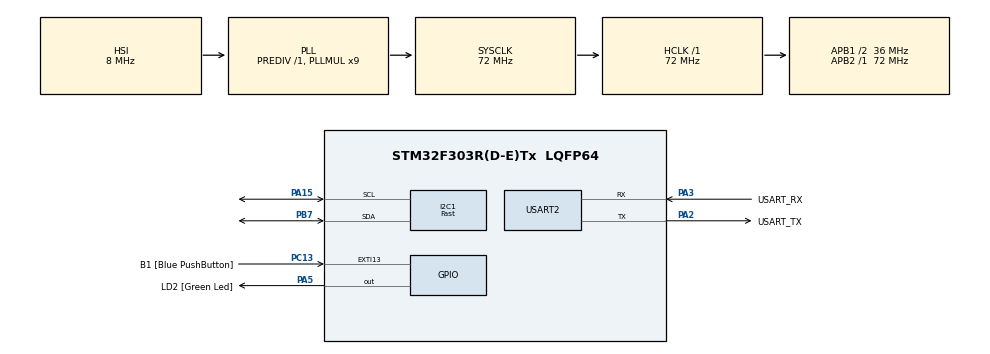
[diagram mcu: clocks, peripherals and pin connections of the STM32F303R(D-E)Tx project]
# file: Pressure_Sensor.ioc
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I2C1.I2C_Fall_Time=50
I2C1.I2C_Rise_Time=50
I2C1.I2C_Speed_Mode=I2C_Fast
I2C1.Timing=0x0010020A
Mcu.Family=STM32F3
Mcu.Name=STM32F303R(D-E)Tx
Mcu.Package=LQFP64
NVIC.PriorityGroup=NVIC_PRIORITYGROUP_0
PA13.GPIO_Label=TMS
PA13.Mode=Serial_Wire
PA13.Signal=SYS_JTMS-SWDIO
PA14.GPIO_Label=TCK
PA14.Mode=Serial_Wire
PA14.Signal=SYS_JTCK-SWCLK
PA15.Mode=I2C
PA15.Signal=I2C1_SCL
PA2.GPIO_Label=USART_TX
PA2.GPIO_Mode=GPIO_MODE_AF_PP
PA2.GPIO_PuPd=GPIO_NOPULL
PA2.GPIO_Speed=GPIO_SPEED_FREQ_LOW
PA2.Mode=Asynchronous
PA2.Signal=USART2_TX
PA3.GPIO_Label=USART_RX
PA3.GPIO_Mode=GPIO_MODE_AF_PP
PA3.GPIO_PuPd=GPIO_NOPULL
PA3.GPIO_Speed=GPIO_SPEED_FREQ_LOW
PA3.Mode=Asynchronous
PA3.Signal=USART2_RX
PA5.GPIO_Label=LD2 [Green Led]
PA5.GPIO_Mode=GPIO_MODE_OUTPUT_PP
PA5.GPIO_PuPd=GPIO_NOPULL
PA5.GPIO_Speed=GPIO_SPEED_FREQ_LOW
PA5.Signal=GPIO_Output
PB3.GPIO_Label=SWO
PB3.Signal=SYS_JTDO-TRACESWO
PB7.Mode=I2C
PB7.Signal=I2C1_SDA
PC13.GPIO_Label=B1 [Blue PushButton]
PC13.GPIO_ModeDefaultEXTI=GPIO_MODE_IT_FALLING
PC13.Signal=GPXTI13
PC14-OSC32_IN.Mode=LSE-External-Oscillator
PC14-OSC32_IN.Signal=RCC_OSC32_IN
PC15-OSC32_OUT.Mode=LSE-External-Oscillator
PC15-OSC32_OUT.Signal=RCC_OSC32_OUT
PF0-OSC_IN.Mode=HSE-External-Clock-Source
PF0-OSC_IN.Signal=RCC_OSC_IN
PF1-OSC_OUT.Signal=RCC_OSC_OUT
ProjectManager.HeapSize=0x200
ProjectManager.StackSize=0x400
ProjectManager.TargetToolchain=STM32CubeIDE
RCC.AHBFreq_Value=72000000
RCC.APB1CLKDivider=RCC_HCLK_DIV2
RCC.APB1Freq_Value=36000000
RCC.APB1TimFreq_Value=72000000
RCC.APB2Freq_Value=72000000
RCC.APB2TimFreq_Value=72000000
RCC.CortexFreq_Value=72000000
RCC.HCLKFreq_Value=72000000
RCC.HSE_VALUE=8000000
RCC.HSI_VALUE=8000000
RCC.PLLM=8
RCC.PLLMUL=RCC_PLL_MUL9
RCC.PLLN=336
RCC.PLLP=RCC_PLLP_DIV4
RCC.PLLQ=7
RCC.RCC_PLLsource_Clock_Source_FROM_HSE=RCC_HSE_PREDIV_DIV2
RCC.SYSCLKFreq_VALUE=72000000
RCC.SYSCLKSourceVirtual=RCC_SYSCLKSOURCE_PLLCLK
RCC.USBFreq_Value=72000000
USART2.VirtualMode-Asynchronous=VM_ASYNC
board=NUCLEO-F303RE

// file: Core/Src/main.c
/* USER CODE BEGIN Header */
/**
  ******************************************************************************
  * @file           : main.c
  * @brief          : Main program body
  ******************************************************************************
  * @attention
  *
  * Copyright (c) 2023 STMicroelectronics.
  * All rights reserved.
  *
  * This software is licensed under terms that can be found in the LICENSE file
  * in the root directory of this software component.
  * If no LICENSE file comes with this software, it is provided AS-IS.
  *
  ******************************************************************************
  */
/* USER CODE END Header */
#include "main.h"

I2C_HandleTypeDef hi2c1;

UART_HandleTypeDef huart2;

void SystemClock_Config(void);
static void MX_GPIO_Init(void);
static void MX_USART2_UART_Init(void);
static void MX_I2C1_Init(void);

int main(void)
{

  /* MCU Configuration--------------------------------------------------------*/

  /* Reset of all peripherals, Initializes the Flash interface and the Systick. */
  HAL_Init();

  /* Configure the system clock */
  SystemClock_Config();

  /* Initialize all configured peripherals */
  MX_GPIO_Init();
  MX_USART2_UART_Init();
  MX_I2C1_Init();
  /* USER CODE BEGIN 2 */
  /* Pressure Sensor Loop Variables*/
  	  /* Slave Address of the BMP280 */
  	  uint16_t BMP_Address = 0xEC; /* BMP 280 Address */

  	  /* Register Addresses */
  	  uint8_t regAddress_CTRL_MEAS = 0xF4; /* Oversampling control */
  	  uint8_t regAddress_CONFIG = 0xF5; /* Data rate/filter and interface */
  	  uint8_t regAddress_PRESS_MSB = 0xF7; /* Pressure Most Significant Bits */

  	  /* Trimming Register Addresses */
  	  uint8_t regAddress_Dig_T1 = 0x88;
  	  uint8_t regAddress_Dig_T2 = 0x8A;
  	  uint8_t regAddress_Dig_T3 = 0x8C;
	  uint8_t regAddress_Dig_P1 = 0x8E;
	  uint8_t regAddress_Dig_P2 = 0x90;
	  uint8_t regAddress_Dig_P3 = 0x92;
	  uint8_t regAddress_Dig_P4 = 0x94;
	  uint8_t regAddress_Dig_P5 = 0x96;
	  uint8_t regAddress_Dig_P6 = 0x98;
	  uint8_t regAddress_Dig_P7 = 0x9A;
	  uint8_t regAddress_Dig_P8 = 0x9C;
	  uint8_t regAddress_Dig_P9 = 0x9E;

  	  /* Register Values */
  	  uint8_t regCTRL_MEAS = 0x27; /* Oversampling x1 for Pressure and Temp, Normal Mode 00100111*/
  	  uint8_t regCONFIG = 0x00; /* Not sure about this. 0.5ms rate, filter off, SPI off */

  	  /* Output Buffers */
  	  uint8_t data[6]; /* Buffer for all the data */

  	  int32_t press; /* Pressure value */
  	  int32_t temp; /* Temperature Value */
  	  uint16_t dig_T1; /* Trimming Value T1 */
  	  short dig_T2; /* Trimming Value T2 */
  	  short dig_T3; /* Trimming Value T3 */
  	  uint16_t dig_P1; /*Trimming Value P1 */
  	  short dig_P2; /* Trimming Value P2 */
  	  short dig_P3; /* Trimming Value P3 */
  	  short dig_P4; /* Trimming Value P4 */
  	  short dig_P5; /* Trimming Value P5 */
  	  short dig_P6; /* Trimming Value P6 */
  	  short dig_P7; /* Trimming Value P7 */
  	  short dig_P8; /* Trimming Value P8 */
  	  short dig_P9; /* Trimming Value P9 */

  	  /* Temperature Compensation Variables */
	  int32_t temp_var1;
	  int32_t temp_var2;
	  int32_t temperature; /* Output Temperature */
	  int32_t t_fine; /* Fine Output for Pressure Compensation */

	  /* Pressure Compensation Variables */
	  int64_t press_var1;
	  int64_t press_var2;
	  int64_t pressure;

  	  float pressVal; /* Decimal Pressure */
  	  float tempVal; /* Decimal Temperature */
  	  float altitude; /* Altitude */
  	  float seaLevel_Press = 102090; /* Sea Level Pressure Equivalent (Update by day) */

  	  /* Configuration of the BMP280 */
  	  HAL_I2C_Mem_Write(&hi2c1, BMP_Address, regAddress_CTRL_MEAS, I2C_MEMADD_SIZE_8BIT, &regCTRL_MEAS, 1, 2000u); /* Writing to the ctrl measurement register */
  	  HAL_I2C_Mem_Write(&hi2c1, BMP_Address, regAddress_CONFIG, I2C_MEMADD_SIZE_8BIT, &regCONFIG, 1, 2000u); /* Writing to the ctrl measurement register */

  	  /* Reading the Trimming Values */
	  HAL_I2C_Mem_Read(&hi2c1, BMP_Address, regAddress_Dig_T1, I2C_MEMADD_SIZE_8BIT, &dig_T1, 2, 2000u); /* Getting the Trimming Values */
	  HAL_I2C_Mem_Read(&hi2c1, BMP_Address, regAddress_Dig_T2, I2C_MEMADD_SIZE_8BIT, &dig_T2, 2, 2000u); /* Getting the Trimming Values */
	  HAL_I2C_Mem_Read(&hi2c1, BMP_Address, regAddress_Dig_T3, I2C_MEMADD_SIZE_8BIT, &dig_T3, 2, 2000u); /* Getting the Trimming Values */
	  HAL_I2C_Mem_Read(&hi2c1, BMP_Address, regAddress_Dig_P1, I2C_MEMADD_SIZE_8BIT, &dig_P1, 2, 2000u); /* Getting the Trimming Values */
	  HAL_I2C_Mem_Read(&hi2c1, BMP_Address, regAddress_Dig_P2, I2C_MEMADD_SIZE_8BIT, &dig_P2, 2, 2000u); /* Getting the Trimming Values */
	  HAL_I2C_Mem_Read(&hi2c1, BMP_Address, regAddress_Dig_P3, I2C_MEMADD_SIZE_8BIT, &dig_P3, 2, 2000u); /* Getting the Trimming Values */
	  HAL_I2C_Mem_Read(&hi2c1, BMP_Address, regAddress_Dig_P4, I2C_MEMADD_SIZE_8BIT, &dig_P4, 2, 2000u); /* Getting the Trimming Values */
	  HAL_I2C_Mem_Read(&hi2c1, BMP_Address, regAddress_Dig_P5, I2C_MEMADD_SIZE_8BIT, &dig_P5, 2, 2000u); /* Getting the Trimming Values */
	  HAL_I2C_Mem_Read(&hi2c1, BMP_Address, regAddress_Dig_P6, I2C_MEMADD_SIZE_8BIT, &dig_P6, 2, 2000u); /* Getting the Trimming Values */
	  HAL_I2C_Mem_Read(&hi2c1, BMP_Address, regAddress_Dig_P7, I2C_MEMADD_SIZE_8BIT, &dig_P7, 2, 2000u); /* Getting the Trimming Values */
	  HAL_I2C_Mem_Read(&hi2c1, BMP_Address, regAddress_Dig_P8, I2C_MEMADD_SIZE_8BIT, &dig_P8, 2, 2000u); /* Getting the Trimming Values */
	  HAL_I2C_Mem_Read(&hi2c1, BMP_Address, regAddress_Dig_P9, I2C_MEMADD_SIZE_8BIT, &dig_P9, 2, 2000u); /* Getting the Trimming Values */

  /* USER CODE END 2 */

  /* Infinite loop */
  while (1)
  {

    /* USER CODE BEGIN 3 */
	  HAL_I2C_Mem_Read(&hi2c1, BMP_Address, regAddress_PRESS_MSB, I2C_MEMADD_SIZE_8BIT, &data, 6, 2000u); /* Reading pressure and temperature */

	  press = (int32_t)((data[0] << 12) | data[1] << 4 | data[2]);
	  temp = (int32_t)((data[3] << 12) | data[4] << 4 | data[5]);

	  /* Compensation of Temperature */
	  temp_var1 = ((((temp>>3) - ((int32_t)dig_T1<<1))) * ((int32_t)dig_T2)) >> 11;
	  //var2 = (((((temp >> 17) - ((int32_t)dig_T1 >> 13)) * ((temp >> 17) - ((int32_t)dig_T1))) >> 13) * ((int32_t)dig_T3));
	  temp_var2 = (((((temp>>4) - ((int32_t)dig_T1)) * ((temp>>4) - ((int32_t)dig_T1))) >> 12) * ((int32_t)dig_T3)) >> 14;
	  t_fine = temp_var1 + temp_var2;
	  temperature = (t_fine * 5 + 128) >> 8;

	  tempVal = ((float)temperature)/100;

	  /* Compensation of Pressure */
	  press_var1 = ((int64_t)t_fine) - 128000;
	  press_var2 = press_var1 * press_var1 * (int64_t)dig_P6;
	  press_var2 = press_var2 + ((press_var1*(int64_t)dig_P5)<<17);
	  press_var2 = 	  press_var2 + (((int64_t)dig_P4)<<35);
	  press_var1 = ((press_var1 * press_var1 * (int64_t)dig_P3)>>8) + ((press_var1 * (int64_t)dig_P2)<<12);
	  press_var1 = (((((int64_t)1)<<47)+press_var1))*((int64_t)dig_P1)>>33;
	  pressure = 1048576 - press;
	  pressure = (((pressure<<31)-press_var2)*3125)/press_var1;
	  press_var1 = (((int64_t)dig_P9) * (pressure>>13) * (pressure>>13)) >> 25;
	  press_var2 = (((int64_t)dig_P8) * pressure) >> 19;
	  pressure = ((pressure + press_var1 + press_var2) >> 8) + (((int64_t)dig_P7)<<4);

	  pressVal = ((float)pressure)/256;

	  altitude = 44330 * (1 - pow((pressVal/seaLevel_Press),(1/5.255)));

	  HAL_Delay(2000); /* Delay for 2 seconds */
  }
  /* USER CODE END 3 */
}

void SystemClock_Config(void)
{
  RCC_OscInitTypeDef RCC_OscInitStruct = {0};
  RCC_ClkInitTypeDef RCC_ClkInitStruct = {0};
  RCC_PeriphCLKInitTypeDef PeriphClkInit = {0};

  /** Initializes the RCC Oscillators according to the specified parameters
  * in the RCC_OscInitTypeDef structure.
  */
  RCC_OscInitStruct.OscillatorType = RCC_OSCILLATORTYPE_HSI;
  RCC_OscInitStruct.HSIState = RCC_HSI_ON;
  RCC_OscInitStruct.HSICalibrationValue = RCC_HSICALIBRATION_DEFAULT;
  RCC_OscInitStruct.PLL.PLLState = RCC_PLL_ON;
  RCC_OscInitStruct.PLL.PLLSource = RCC_PLLSOURCE_HSI;
  RCC_OscInitStruct.PLL.PLLMUL = RCC_PLL_MUL9;
  RCC_OscInitStruct.PLL.PREDIV = RCC_PREDIV_DIV1;
  if (HAL_RCC_OscConfig(&RCC_OscInitStruct) != HAL_OK)
  {
    Error_Handler();
  }

  /** Initializes the CPU, AHB and APB buses clocks
  */
  RCC_ClkInitStruct.ClockType = RCC_CLOCKTYPE_HCLK|RCC_CLOCKTYPE_SYSCLK
                              |RCC_CLOCKTYPE_PCLK1|RCC_CLOCKTYPE_PCLK2;
  RCC_ClkInitStruct.SYSCLKSource = RCC_SYSCLKSOURCE_PLLCLK;
  RCC_ClkInitStruct.AHBCLKDivider = RCC_SYSCLK_DIV1;
  RCC_ClkInitStruct.APB1CLKDivider = RCC_HCLK_DIV2;
  RCC_ClkInitStruct.APB2CLKDivider = RCC_HCLK_DIV1;

  if (HAL_RCC_ClockConfig(&RCC_ClkInitStruct, FLASH_LATENCY_2) != HAL_OK)
  {
    Error_Handler();
  }
  PeriphClkInit.PeriphClockSelection = RCC_PERIPHCLK_USART2|RCC_PERIPHCLK_I2C1;
  PeriphClkInit.Usart2ClockSelection = RCC_USART2CLKSOURCE_PCLK1;
  PeriphClkInit.I2c1ClockSelection = RCC_I2C1CLKSOURCE_HSI;
  if (HAL_RCCEx_PeriphCLKConfig(&PeriphClkInit) != HAL_OK)
  {
    Error_Handler();
  }
}

static void MX_I2C1_Init(void)
{

  hi2c1.Instance = I2C1;
  hi2c1.Init.Timing = 0x0010020A;
  hi2c1.Init.OwnAddress1 = 0;
  hi2c1.Init.AddressingMode = I2C_ADDRESSINGMODE_7BIT;
  hi2c1.Init.DualAddressMode = I2C_DUALADDRESS_DISABLE;
  hi2c1.Init.OwnAddress2 = 0;
  hi2c1.Init.OwnAddress2Masks = I2C_OA2_NOMASK;
  hi2c1.Init.GeneralCallMode = I2C_GENERALCALL_DISABLE;
  hi2c1.Init.NoStretchMode = I2C_NOSTRETCH_DISABLE;
  if (HAL_I2C_Init(&hi2c1) != HAL_OK)
  {
    Error_Handler();
  }

  /** Configure Analogue filter
  */
  if (HAL_I2CEx_ConfigAnalogFilter(&hi2c1, I2C_ANALOGFILTER_ENABLE) != HAL_OK)
  {
    Error_Handler();
  }

  /** Configure Digital filter
  */
  if (HAL_I2CEx_ConfigDigitalFilter(&hi2c1, 0) != HAL_OK)
  {
    Error_Handler();
  }

}

static void MX_USART2_UART_Init(void)
{

  huart2.Instance = USART2;
  huart2.Init.BaudRate = 38400;
  huart2.Init.WordLength = UART_WORDLENGTH_8B;
  huart2.Init.StopBits = UART_STOPBITS_1;
  huart2.Init.Parity = UART_PARITY_NONE;
  huart2.Init.Mode = UART_MODE_TX_RX;
  huart2.Init.HwFlowCtl = UART_HWCONTROL_NONE;
  huart2.Init.OverSampling = UART_OVERSAMPLING_16;
  huart2.Init.OneBitSampling = UART_ONE_BIT_SAMPLE_DISABLE;
  huart2.AdvancedInit.AdvFeatureInit = UART_ADVFEATURE_NO_INIT;
  if (HAL_UART_Init(&huart2) != HAL_OK)
  {
    Error_Handler();
  }

}

static void MX_GPIO_Init(void)
{
  GPIO_InitTypeDef GPIO_InitStruct = {0};

  /* GPIO Ports Clock Enable */
  __HAL_RCC_GPIOC_CLK_ENABLE();
  __HAL_RCC_GPIOF_CLK_ENABLE();
  __HAL_RCC_GPIOA_CLK_ENABLE();
  __HAL_RCC_GPIOB_CLK_ENABLE();

  /*Configure GPIO pin Output Level */
  HAL_GPIO_WritePin(LD2_GPIO_Port, LD2_Pin, GPIO_PIN_RESET);

  /*Configure GPIO pin : B1_Pin */
  GPIO_InitStruct.Pin = B1_Pin;
  GPIO_InitStruct.Mode = GPIO_MODE_IT_FALLING;
  GPIO_InitStruct.Pull = GPIO_NOPULL;
  HAL_GPIO_Init(B1_GPIO_Port, &GPIO_InitStruct);

  /*Configure GPIO pin : LD2_Pin */
  GPIO_InitStruct.Pin = LD2_Pin;
  GPIO_InitStruct.Mode = GPIO_MODE_OUTPUT_PP;
  GPIO_InitStruct.Pull = GPIO_NOPULL;
  GPIO_InitStruct.Speed = GPIO_SPEED_FREQ_LOW;
  HAL_GPIO_Init(LD2_GPIO_Port, &GPIO_InitStruct);

}

void Error_Handler(void)
{
  __disable_irq();
  while (1)
  {
  }
}
